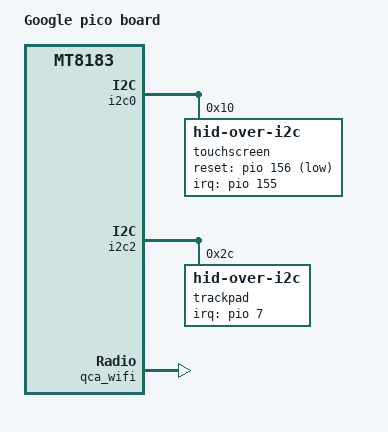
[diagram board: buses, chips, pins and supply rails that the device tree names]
// SPDX-License-Identifier: (GPL-2.0 OR MIT)
/*
 * Copyright 2021 Google LLC
 */

/dts-v1/;
#include "mt8183-kukui-icarus.dtsi"
#include "mt8183-kukui-audio-ts3a227e-max98357a.dtsi"

/ {
	model = "Google pico board";
	compatible = "google,pico", "mediatek,mt8183";
};

&i2c0 {

	status = "okay";

	touchscreen: touchscreen@10 {
		compatible = "hid-over-i2c";
		reg = <0x10>;

		pinctrl-names = "default";
		pinctrl-0 = <&touchscreen_pins>;

		interrupt-parent = <&pio>;
		interrupts-extended = <&pio 155 IRQ_TYPE_LEVEL_LOW>;

		hid-descr-addr = <0x0001>;
		reset-gpios = <&pio 156 GPIO_ACTIVE_LOW>;
	};
};

&i2c2 {
	clock-stretch-ns = <25000>;

	trackpad@2c {
		compatible = "hid-over-i2c";
		reg = <0x2c>;
		hid-descr-addr = <0x20>;

		pinctrl-names = "default";
		pinctrl-0 = <&trackpad_pins>;

		interrupts-extended = <&pio 7 IRQ_TYPE_LEVEL_LOW>;

		wakeup-source;
	};
};

&qca_wifi {
	qcom,ath10k-calibration-variant = "GO_COZMO";
};
